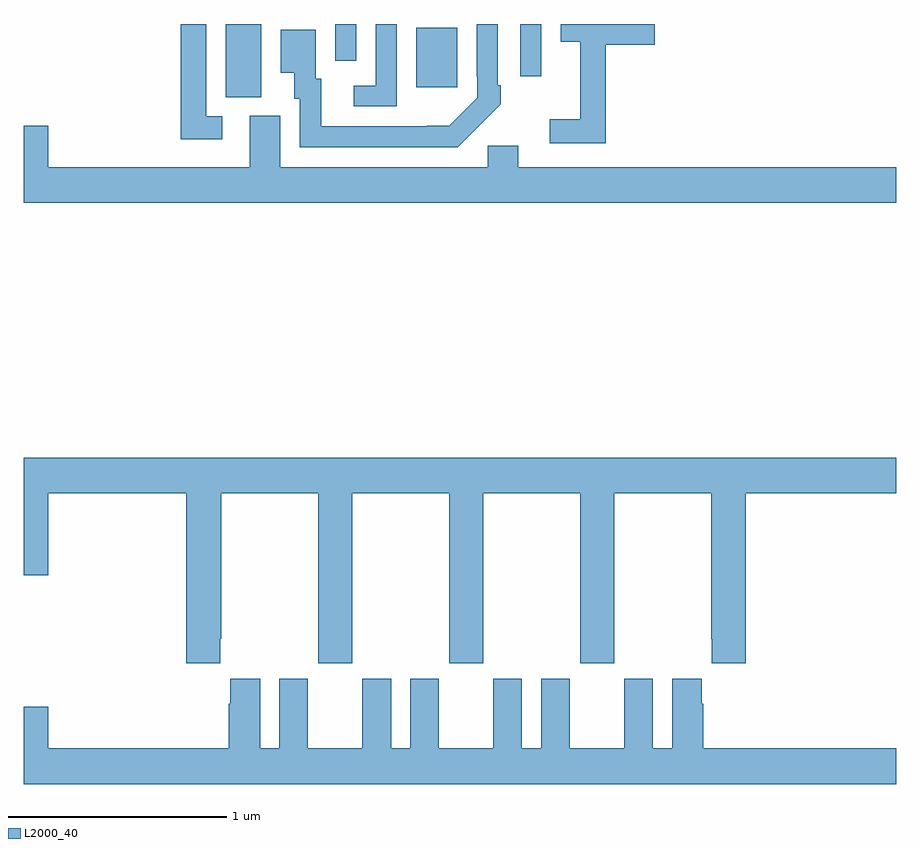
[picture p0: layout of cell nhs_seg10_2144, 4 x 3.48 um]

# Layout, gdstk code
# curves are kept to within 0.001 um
import gdstk
lib = gdstk.Library(unit=1e-6, precision=1e-09)
def R(c, l, rs):  # rectangles x0, y0, x1, y1
    for r in rs: c.add(gdstk.rectangle(r[:2], r[2:], *l))
def P(c, l, *ps):  # polygons
    for p in ps: c.add(gdstk.Polygon(p, *l))
L2000_40 = (2000, 40)

nhs_seg10_2144 = lib.new_cell('nhs_seg10_2144')
R(nhs_seg10_2144, L2000_40, [(225.926,1270.165,226.09,1270.5), (226.799,1270.209,226.987,1270.483), (227.277,1270.26,227.373,1270.5), (226.428,1270.332,226.524,1270.5)])
P(nhs_seg10_2144, L2000_40, [(226.71,1270.5),(226.614,1270.5),(226.614,1270.218),(226.512,1270.218),(226.512,1270.122),(226.71,1270.122)],
  [(227.669,1270.406),(227.893,1270.406),(227.893,1270.5),(227.462,1270.5),(227.462,1270.418),(227.552,1270.418),(227.552,1270.063),(227.412,1270.063),(227.412,1269.954),(227.669,1269.954)],
  [(227.081,1270.027),(227.082,1270.026),(227.187,1270.131),(227.187,1270.219),(227.172,1270.219),(227.172,1270.5),(227.076,1270.5),(227.076,1270.261),(227.079,1270.261),(227.079,1270.161),(226.951,1270.033),(226.363,1270.032),(226.363,1270.248),(226.339,1270.248),(226.339,1270.474),(226.178,1270.474),(226.178,1270.277),(226.241,1270.277),(226.241,1270.158),(226.266,1270.158),(226.266,1269.936),(226.99,1269.936)],
  [(225.91,1270.077),(225.837,1270.077),(225.837,1270.5),(225.721,1270.5),(225.721,1269.972),(225.91,1269.972)],
  [(229,1269.844),(227.266,1269.844),(227.266,1269.942),(227.127,1269.942),(227.127,1269.844),(226.177,1269.844),(226.177,1270.08),(226.037,1270.08),(226.037,1269.844),(225.112,1269.844),(225.112,1270.033),(225,1270.033),(225,1269.68),(229,1269.68)],
  [(225.901,1267.681),(225.906,1267.681),(225.906,1268.348),(226.351,1268.348),(226.351,1267.569),(226.506,1267.569),(226.506,1268.348),(226.951,1268.348),(226.951,1267.569),(227.106,1267.569),(227.106,1268.348),(227.551,1268.348),(227.551,1267.569),(227.706,1267.569),(227.706,1268.348),(228.151,1268.348),(228.151,1267.681),(228.155,1267.681),(228.155,1267.569),(228.311,1267.569),(228.311,1268.348),(229,1268.348),(229,1268.512),(225,1268.512),(225,1267.974),(225.112,1267.974),(225.112,1268.348),(225.746,1268.348),(225.746,1267.569),(225.901,1267.569)],
  [(229,1267.18),(228.116,1267.18),(228.116,1267.385),(228.109,1267.385),(228.109,1267.498),(227.972,1267.498),(227.972,1267.18),(227.884,1267.18),(227.884,1267.498),(227.753,1267.498),(227.753,1267.18),(227.503,1267.18),(227.503,1267.498),(227.372,1267.498),(227.372,1267.18),(227.284,1267.18),(227.284,1267.498),(227.153,1267.498),(227.153,1267.18),(226.903,1267.18),(226.903,1267.498),(226.772,1267.498),(226.772,1267.18),(226.684,1267.18),(226.684,1267.498),(226.553,1267.498),(226.553,1267.18),(226.303,1267.18),(226.303,1267.498),(226.172,1267.498),(226.172,1267.18),(226.084,1267.18),(226.084,1267.498),(225.947,1267.498),(225.947,1267.385),(225.941,1267.385),(225.941,1267.18),(225.112,1267.18),(225.112,1267.369),(225,1267.369),(225,1267.016),(229,1267.016)])

lib.write_gds('nhs_seg10_2144.gds')
